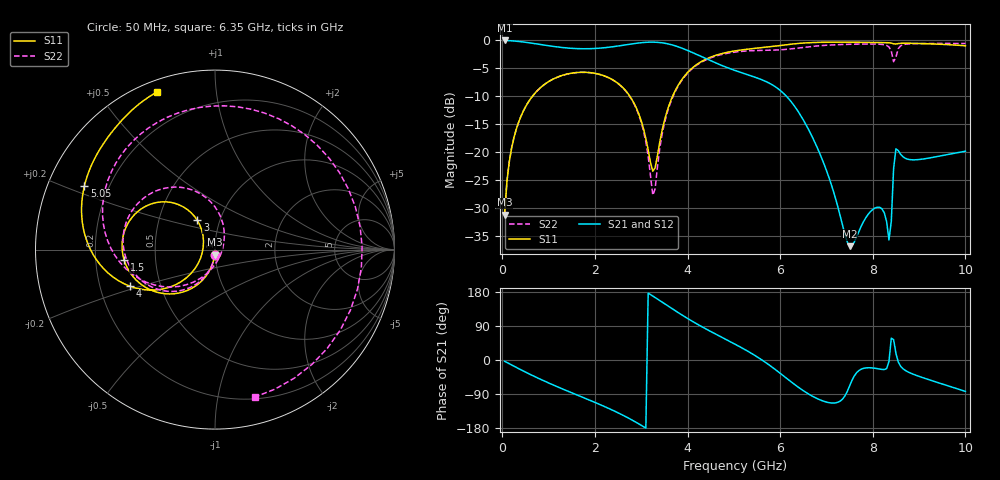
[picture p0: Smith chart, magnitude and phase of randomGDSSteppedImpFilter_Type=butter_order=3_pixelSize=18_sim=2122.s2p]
! freq	dB(S11)	phase(S11)	dB(S12)	phase(S12)
!  dB(S21)	phase(S21)	dB(S22)	phase(S22)
!S-par simulation data
#  GHz  S  DB  R 50
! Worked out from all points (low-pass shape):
!   200 points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, 50 MHz to 10 GHz, reference 50 ohm
!   highest |S21| = -0.01 dB at 50 MHz (marker M1); lowest = -36.9 dB at 7.5 GHz (marker M2)
!   |S21| within 3 dB of the highest: start of sweep to 4.329 GHz
!   lowest |S11| = -31.2 dB at 50 MHz (marker M3), VSWR 1.06, Z = 49.8 - j2.73 ohm
!   |S11| at or under -10 dB: start of sweep to 651.4 MHz; 2.755 GHz to 3.678 GHz (923.3 MHz wide, 28.7 % of centre)
!   |S22| runs from -31.2 to -0.5 dB; largest |S21 - S12| = 0
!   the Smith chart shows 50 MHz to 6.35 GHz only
!   S11 on the Smith chart (normalised r, x): 50 MHz: 1.00, -0.05; 1.5 GHz: 0.33, -0.05; 3 GHz: 0.78, +0.26; 4 GHz: 0.33, -0.18; 5.05 GHz: 0.11, +0.23; 6.35 GHz: 0.05, +0.70
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0.05  -31.22 -93.3  -0.01 -3.3  -0.01 -3.3  -31.23 -93.5
0.2  -19.33 -103.0  -0.07 -13.0  -0.07 -13.0  -19.33 -103.8
0.45  -12.73 -118.3  -0.28 -28.7  -0.28 -28.7  -12.73 -120.2
1.5  -5.86 -173.3  -1.42 -86.6  -1.42 -86.6  -5.87 179.3
1.75  -5.70 175.2  -1.49 -99.1  -1.49 -99.1  -5.71 165.9
3  -14.42 121.2  -0.41 -172.2  -0.41 -172.2  -14.68 80.1
3.25  -23.41 165.4  -0.31 168.8  -0.31 168.8  -27.70 -1.6
3.4  -18.25 -140.4  -0.38 156.9  -0.38 156.9  -19.38 -99.5
4  -5.76 -156.6  -1.79 109.7  -1.79 109.7  -5.88 -167.9
4.5  -2.99 177.4  -3.65 75.2  -3.65 75.2  -3.12 151.1
5.05  -1.84 154.1  -5.45 40.1  -5.45 40.1  -2.06 105.4
5.45  -1.43 139.8  -6.57 12.4  -6.57 12.4  -1.82 64.3
5.85  -1.07 126.9  -8.05 -20.9  -8.05 -20.9  -1.74 9.1
6.35  -0.58 110.0  -12.25 -68.1  -12.25 -68.1  -1.40 -74.9
6.7  -0.38 97.4  -17.39 -95.7  -17.39 -95.7  -1.06 -125.5
7.05  -0.32 84.9  -24.46 -112.4  -24.46 -112.4  -0.84 -163.3
7.5  -0.33 69.0  -36.85 -68.5  -36.85 -68.5  -0.69 161.1
8.1  -0.37 47.5  -29.88 -22.8  -29.88 -22.8  -0.67 124.3
8.35  -0.43 37.8  -35.74 -3.6  -35.74 -3.6  -1.17 106.6
8.5  -0.64 33.1  -19.41 17.5  -19.41 17.5  -2.99 119.3
8.95  -0.54 15.7  -21.37 -41.1  -21.37 -41.1  -0.57 90.7
10  -0.96 -30.4  -19.84 -82.8  -19.84 -82.8  -0.55 47.0
